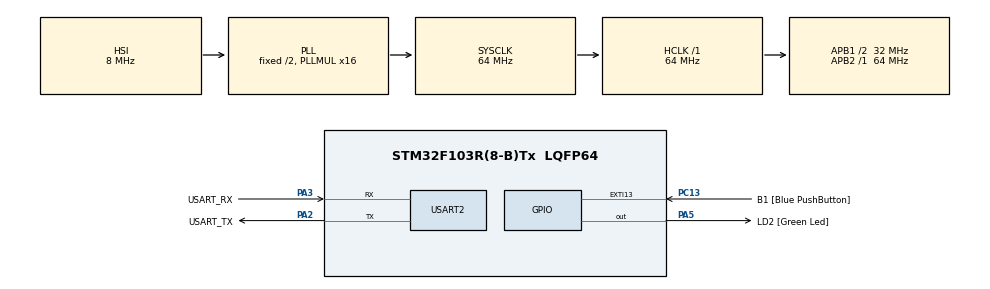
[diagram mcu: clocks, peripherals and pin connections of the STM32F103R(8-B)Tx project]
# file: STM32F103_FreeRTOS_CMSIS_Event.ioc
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FREERTOS.Tasks01=defaultTask,24,128,StartDefaultTask,Default,NULL,Dynamic,NULL,NULL;myTask02,24,128,StartTask02,Default,NULL,Dynamic,NULL,NULL
FREERTOS.configUSE_NEWLIB_REENTRANT=1
Mcu.Family=STM32F1
Mcu.Name=STM32F103R(8-B)Tx
Mcu.Package=LQFP64
NVIC.EXTI15_10_IRQn=true\:5\:0\:false\:false\:true\:true\:true\:true\:true
NVIC.PriorityGroup=NVIC_PRIORITYGROUP_4
NVIC.TIM1_UP_IRQn=true\:15\:0\:false\:false\:true\:false\:false\:true\:true
NVIC.TimeBase=TIM1_UP_IRQn
NVIC.TimeBaseIP=TIM1
PA13.GPIO_Label=TMS
PA13.Mode=Trace_Asynchronous_SW
PA13.Signal=SYS_JTMS-SWDIO
PA14.GPIO_Label=TCK
PA14.Mode=Trace_Asynchronous_SW
PA14.Signal=SYS_JTCK-SWCLK
PA2.GPIO_Label=USART_TX
PA2.GPIO_Mode=GPIO_MODE_AF_PP
PA2.GPIO_PuPd=GPIO_NOPULL
PA2.GPIO_Speed=GPIO_SPEED_FREQ_LOW
PA2.Mode=Asynchronous
PA2.Signal=USART2_TX
PA3.GPIO_Label=USART_RX
PA3.GPIO_Mode=GPIO_MODE_AF_PP
PA3.GPIO_PuPd=GPIO_NOPULL
PA3.GPIO_Speed=GPIO_SPEED_FREQ_LOW
PA3.Mode=Asynchronous
PA3.Signal=USART2_RX
PA5.GPIO_Label=LD2 [Green Led]
PA5.GPIO_ModeDefaultOutputPP=GPIO_MODE_OUTPUT_PP
PA5.GPIO_PuPd=GPIO_NOPULL
PA5.GPIO_Speed=GPIO_SPEED_FREQ_LOW
PA5.Signal=GPIO_Output
PB3.GPIO_Label=SWO
PB3.Mode=Trace_Asynchronous_SW
PB3.Signal=SYS_JTDO-TRACESWO
PC13-TAMPER-RTC.GPIO_Label=B1 [Blue PushButton]
PC13-TAMPER-RTC.GPIO_PuPd=GPIO_NOPULL
PC13-TAMPER-RTC.Signal=GPXTI13
PC14-OSC32_IN.Mode=LSE-External-Oscillator
PC14-OSC32_IN.Signal=RCC_OSC32_IN
PC15-OSC32_OUT.Mode=LSE-External-Oscillator
PC15-OSC32_OUT.Signal=RCC_OSC32_OUT
PD0-OSC_IN.Mode=HSE-External-Clock-Source
PD0-OSC_IN.Signal=RCC_OSC_IN
PD1-OSC_OUT.Mode=HSE-External-Clock-Source
PD1-OSC_OUT.Signal=RCC_OSC_OUT
ProjectManager.HeapSize=0x200
ProjectManager.StackSize=0x400
ProjectManager.TargetToolchain=STM32CubeIDE
RCC.AHBFreq_Value=64000000
RCC.APB1CLKDivider=RCC_HCLK_DIV2
RCC.APB1Freq_Value=32000000
RCC.APB1TimFreq_Value=64000000
RCC.APB2Freq_Value=64000000
RCC.APB2TimFreq_Value=64000000
RCC.HCLKFreq_Value=64000000
RCC.PLLMUL=RCC_PLL_MUL16
RCC.RTCClockSelection=RCC_RTCCLKSOURCE_LSE
RCC.SYSCLKFreq_VALUE=64000000
RCC.SYSCLKSource=RCC_SYSCLKSOURCE_PLLCLK
RCC.USBFreq_Value=64000000
USART2.VirtualMode=VM_ASYNC
VP_FREERTOS_VS_CMSIS_V2.Mode=CMSIS_V2
VP_SYS_VS_tim1.Mode=TIM1
board=NUCLEO-F103RB

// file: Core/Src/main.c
/* USER CODE BEGIN Header */
/**
  ******************************************************************************
  * @file           : main.c
  * @brief          : Main program body
  ******************************************************************************
  * @attention
  *
  * Copyright (c) 2025 STMicroelectronics.
  * All rights reserved.
  *
  * This software is licensed under terms that can be found in the LICENSE file
  * in the root directory of this software component.
  * If no LICENSE file comes with this software, it is provided AS-IS.
  *
  ******************************************************************************
  */
/* USER CODE END Header */
#include "main.h"
#include "cmsis_os.h"

UART_HandleTypeDef huart2;

/* Definitions for defaultTask */
osThreadId_t defaultTaskHandle;
const osThreadAttr_t defaultTask_attributes = {
  .name = "defaultTask",
  .stack_size = 128 * 4,
  .priority = (osPriority_t) osPriorityNormal,
};
/* Definitions for myTask02 */
osThreadId_t myTask02Handle;
const osThreadAttr_t myTask02_attributes = {
  .name = "myTask02",
  .stack_size = 128 * 4,
  .priority = (osPriority_t) osPriorityNormal,
};

void SystemClock_Config(void);
static void MX_GPIO_Init(void);
static void MX_USART2_UART_Init(void);
void StartDefaultTask(void *argument);
void StartTask02(void *argument);

/* USER CODE BEGIN PFP */
void TaskAction(char m);
/* USER CODE END PFP */

int main(void)
{

  /* MCU Configuration--------------------------------------------------------*/

  /* Reset of all peripherals, Initializes the Flash interface and the Systick. */
  HAL_Init();

  /* Configure the system clock */
  SystemClock_Config();

  /* Initialize all configured peripherals */
  MX_GPIO_Init();
  MX_USART2_UART_Init();

  /* Init scheduler */
  osKernelInitialize();

  /* Create the thread(s) */
  /* creation of defaultTask */
  defaultTaskHandle = osThreadNew(StartDefaultTask, NULL, &defaultTask_attributes);

  /* creation of myTask02 */
  myTask02Handle = osThreadNew(StartTask02, NULL, &myTask02_attributes);

  /* Start scheduler */
  osKernelStart();

  /* We should never get here as control is now taken by the scheduler */

  /* Infinite loop */
  while (1)
  {

  }
}

void SystemClock_Config(void)
{
  RCC_OscInitTypeDef RCC_OscInitStruct = {0};
  RCC_ClkInitTypeDef RCC_ClkInitStruct = {0};

  /** Initializes the RCC Oscillators according to the specified parameters
  * in the RCC_OscInitTypeDef structure.
  */
  RCC_OscInitStruct.OscillatorType = RCC_OSCILLATORTYPE_HSI;
  RCC_OscInitStruct.HSIState = RCC_HSI_ON;
  RCC_OscInitStruct.HSICalibrationValue = RCC_HSICALIBRATION_DEFAULT;
  RCC_OscInitStruct.PLL.PLLState = RCC_PLL_ON;
  RCC_OscInitStruct.PLL.PLLSource = RCC_PLLSOURCE_HSI_DIV2;
  RCC_OscInitStruct.PLL.PLLMUL = RCC_PLL_MUL16;
  if (HAL_RCC_OscConfig(&RCC_OscInitStruct) != HAL_OK)
  {
    Error_Handler();
  }

  /** Initializes the CPU, AHB and APB buses clocks
  */
  RCC_ClkInitStruct.ClockType = RCC_CLOCKTYPE_HCLK|RCC_CLOCKTYPE_SYSCLK
                              |RCC_CLOCKTYPE_PCLK1|RCC_CLOCKTYPE_PCLK2;
  RCC_ClkInitStruct.SYSCLKSource = RCC_SYSCLKSOURCE_PLLCLK;
  RCC_ClkInitStruct.AHBCLKDivider = RCC_SYSCLK_DIV1;
  RCC_ClkInitStruct.APB1CLKDivider = RCC_HCLK_DIV2;
  RCC_ClkInitStruct.APB2CLKDivider = RCC_HCLK_DIV1;

  if (HAL_RCC_ClockConfig(&RCC_ClkInitStruct, FLASH_LATENCY_2) != HAL_OK)
  {
    Error_Handler();
  }
}

static void MX_USART2_UART_Init(void)
{

  huart2.Instance = USART2;
  huart2.Init.BaudRate = 115200;
  huart2.Init.WordLength = UART_WORDLENGTH_8B;
  huart2.Init.StopBits = UART_STOPBITS_1;
  huart2.Init.Parity = UART_PARITY_NONE;
  huart2.Init.Mode = UART_MODE_TX_RX;
  huart2.Init.HwFlowCtl = UART_HWCONTROL_NONE;
  huart2.Init.OverSampling = UART_OVERSAMPLING_16;
  if (HAL_UART_Init(&huart2) != HAL_OK)
  {
    Error_Handler();
  }

}

static void MX_GPIO_Init(void)
{
  GPIO_InitTypeDef GPIO_InitStruct = {0};

  /* GPIO Ports Clock Enable */
  __HAL_RCC_GPIOC_CLK_ENABLE();
  __HAL_RCC_GPIOD_CLK_ENABLE();
  __HAL_RCC_GPIOA_CLK_ENABLE();
  __HAL_RCC_GPIOB_CLK_ENABLE();

  /*Configure GPIO pin Output Level */
  HAL_GPIO_WritePin(LD2_GPIO_Port, LD2_Pin, GPIO_PIN_RESET);

  /*Configure GPIO pin : B1_Pin */
  GPIO_InitStruct.Pin = B1_Pin;
  GPIO_InitStruct.Mode = GPIO_MODE_IT_RISING;
  GPIO_InitStruct.Pull = GPIO_NOPULL;
  HAL_GPIO_Init(B1_GPIO_Port, &GPIO_InitStruct);

  /*Configure GPIO pin : LD2_Pin */
  GPIO_InitStruct.Pin = LD2_Pin;
  GPIO_InitStruct.Mode = GPIO_MODE_OUTPUT_PP;
  GPIO_InitStruct.Pull = GPIO_NOPULL;
  GPIO_InitStruct.Speed = GPIO_SPEED_FREQ_LOW;
  HAL_GPIO_Init(LD2_GPIO_Port, &GPIO_InitStruct);

  /* EXTI interrupt init*/
  HAL_NVIC_SetPriority(EXTI15_10_IRQn, 5, 0);
  HAL_NVIC_EnableIRQ(EXTI15_10_IRQn);

}

/* USER CODE BEGIN 4 */
void HAL_GPIO_EXTI_Callback(uint16_t GPIO_Pin)
{
  /* Prevent unused argument(s) compilation warning */
  //UNUSED(GPIO_Pin);
  /* NOTE: This function Should not be modified, when the callback is needed,
           the HAL_GPIO_EXTI_Callback could be implemented in the user file
   */

	if (GPIO_Pin == B1_Pin)
	{
		osThreadFlagsSet(defaultTaskHandle, 0x50);
		TaskAction('!');
	}
}

void TaskAction(char m)
{
	ITM_SendChar(m);
	ITM_SendChar('\n');
}
/* USER CODE END 4 */

void StartDefaultTask(void *argument)
{
  /* USER CODE BEGIN 5 */
	uint32_t flagfromGet = 0;
	uint32_t flagFromWait = 0;
  /* Infinite loop */
  for(;;)
  {
	  //osThreadFlagsGet has to be called to let osThreadFlagsWait return expected value
	  //don't know why need further check, maybe to post to STM32 forum :(
	  flagfromGet = osThreadFlagsGet();
	  flagFromWait = osThreadFlagsWait(0x51, osFlagsWaitAll | osFlagsNoClear, 0);
	  if (flagFromWait >= osFlagsErrorISR)
	  {
		  //flagfromGet = osThreadFlagsGet();
	  }
	  else
	  {
		  osDelay(1000);
	  	  TaskAction('1');
	  	  //flag = osThreadFlagsClear(0x51);
	  }
	  flagFromWait = 0x00;
  }
  /* USER CODE END 5 */
}

void StartTask02(void *argument)
{
  /* USER CODE BEGIN StartTask02 */
  /* Infinite loop */
  for(;;)
  {
	  osThreadFlagsSet(defaultTaskHandle, 0x01);
	  TaskAction('2');
	  osDelay(5000);
  }
  /* USER CODE END StartTask02 */
}

void HAL_TIM_PeriodElapsedCallback(TIM_HandleTypeDef *htim)
{
  if (htim->Instance == TIM1)
  {
    HAL_IncTick();
  }
}

void Error_Handler(void)
{
  __disable_irq();
  while (1)
  {
  }
}
